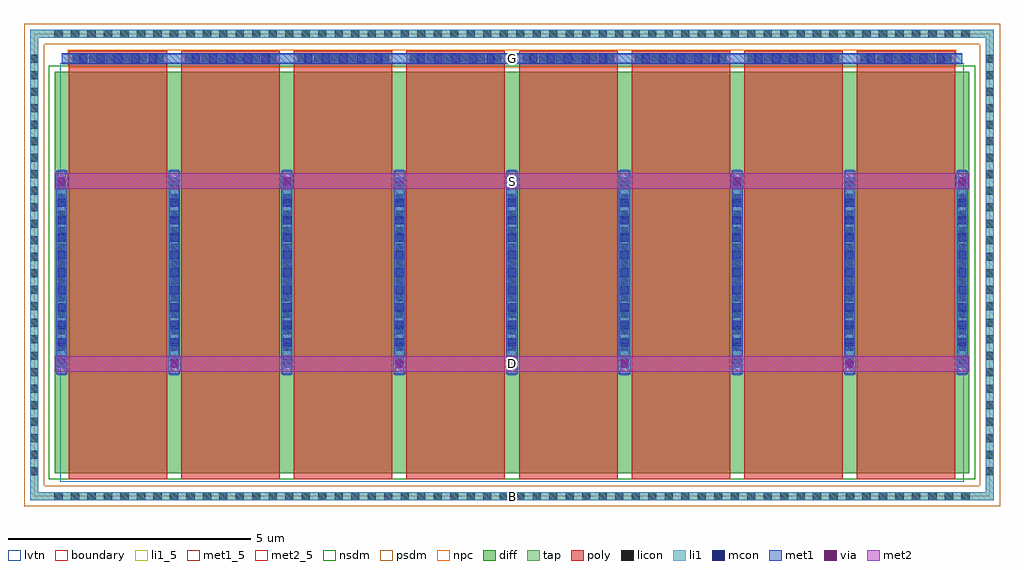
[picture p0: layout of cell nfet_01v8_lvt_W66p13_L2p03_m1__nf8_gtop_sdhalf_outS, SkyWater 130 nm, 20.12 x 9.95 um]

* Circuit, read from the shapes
.subckt nfet_01v8_lvt_W66p13_L2p03_m1__nf8_gtop_sdhalf_outS B D G S
XM1 D G S B sky130_fd_pr__nfet_01v8_lvt w=8.27 l=2.03 m=8
.ends

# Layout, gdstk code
import gdstk
lib = gdstk.Library(unit=1e-6, precision=1e-09)
def R(c, l, rs):  # rectangles x0, y0, x1, y1
    for r in rs: c.add(gdstk.rectangle(r[:2], r[2:], *l))
def A(c, l, x, y, w, h, nx, ny, dx, dy):  # array of equal rectangles
    R(c, l, [(x+i*dx, y+j*dy, x+i*dx+w, y+j*dy+h) for i in range(nx) for j in range(ny)])
diff = (65, 20)
tap = (65, 44)
poly = (66, 20)
licon = (66, 44)
li1_5 = (67, 5)
li1 = (67, 20)
mcon = (67, 44)
met1_5 = (68, 5)
met1 = (68, 20)
via = (68, 44)
met2_5 = (69, 5)
met2 = (69, 20)
nsdm = (93, 44)
psdm = (94, 20)
npc = (95, 20)
lvtn = (125, 44)
boundary = (235, 4)

sky130_fd_pr__nfet_01v8_ = lib.new_cell('sky130_fd_pr__nfet_01v8_lvt_QZJ5WQ')
R(sky130_fd_pr__nfet_01v8_, diff, [(-9.425,-4.29,9.425,3.98)])
R(sky130_fd_pr__nfet_01v8_, tap, [(-9.935,-4.85,9.935,-4.68), (-9.935,-4.68,-9.765,4.68), (9.765,-4.68,9.935,4.68), (-9.935,4.68,9.935,4.85)])
A(sky130_fd_pr__nfet_01v8_, poly, -9.135, -4.42, 2.03, 8.84, 8, 1, 2.32, 0)
A(sky130_fd_pr__nfet_01v8_, licon, -9.435, -4.85, 0.17, 0.17, 56, 2, 0.34, 9.53)
A(sky130_fd_pr__nfet_01v8_, licon, -9.935, -4.335, 0.17, 0.17, 1, 26, 0, 0.34)
A(sky130_fd_pr__nfet_01v8_, licon, 9.765, -4.335, 0.17, 0.17, 1, 26, 0, 0.34)
A(sky130_fd_pr__nfet_01v8_, licon, -9.365, -2.11, 0.17, 0.17, 9, 12, 2.32, 0.34)
A(sky130_fd_pr__nfet_01v8_, licon, -9.055, 4.17, 0.17, 0.17, 6, 1, 0.34, 0)
A(sky130_fd_pr__nfet_01v8_, licon, -6.735, 4.17, 0.17, 0.17, 6, 1, 0.34, 0)
A(sky130_fd_pr__nfet_01v8_, licon, -4.415, 4.17, 0.17, 0.17, 6, 1, 0.34, 0)
A(sky130_fd_pr__nfet_01v8_, licon, -2.095, 4.17, 0.17, 0.17, 6, 1, 0.34, 0)
A(sky130_fd_pr__nfet_01v8_, licon, 0.225, 4.17, 0.17, 0.17, 6, 1, 0.34, 0)
A(sky130_fd_pr__nfet_01v8_, licon, 2.545, 4.17, 0.17, 0.17, 6, 1, 0.34, 0)
A(sky130_fd_pr__nfet_01v8_, licon, 4.865, 4.17, 0.17, 0.17, 6, 1, 0.34, 0)
A(sky130_fd_pr__nfet_01v8_, licon, 7.185, 4.17, 0.17, 0.17, 6, 1, 0.34, 0)
A(sky130_fd_pr__nfet_01v8_, li1, -9.365, -2.27, 0.17, 4.23, 9, 1, 2.32, 0)
R(sky130_fd_pr__nfet_01v8_, li1, [(-9.935,-4.85,9.935,-4.68), (-9.935,-4.68,-9.765,4.68), (9.765,-4.68,9.935,4.68), (-9.28,4.17,9.28,4.34), (-9.935,4.68,9.935,4.85)])
A(sky130_fd_pr__nfet_01v8_, mcon, -9.365, -2.04, 0.17, 0.17, 9, 11, 2.32, 0.36)
A(sky130_fd_pr__nfet_01v8_, mcon, -8.925, 4.17, 0.17, 0.17, 5, 1, 0.36, 0)
A(sky130_fd_pr__nfet_01v8_, mcon, -6.605, 4.17, 0.17, 0.17, 5, 1, 0.36, 0)
A(sky130_fd_pr__nfet_01v8_, mcon, -4.285, 4.17, 0.17, 0.17, 5, 1, 0.36, 0)
A(sky130_fd_pr__nfet_01v8_, mcon, -1.965, 4.17, 0.17, 0.17, 5, 1, 0.36, 0)
A(sky130_fd_pr__nfet_01v8_, mcon, 0.355, 4.17, 0.17, 0.17, 5, 1, 0.36, 0)
A(sky130_fd_pr__nfet_01v8_, mcon, 2.675, 4.17, 0.17, 0.17, 5, 1, 0.36, 0)
A(sky130_fd_pr__nfet_01v8_, mcon, 4.995, 4.17, 0.17, 0.17, 5, 1, 0.36, 0)
A(sky130_fd_pr__nfet_01v8_, mcon, 7.315, 4.17, 0.17, 0.17, 5, 1, 0.36, 0)
A(sky130_fd_pr__nfet_01v8_, met1, -9.395, -2.25, 0.23, 4.19, 9, 1, 2.32, 0)
A(sky130_fd_pr__nfet_01v8_, met1, -9.115, 4.14, 1.99, 0.03, 8, 2, 2.32, 0.2)
R(sky130_fd_pr__nfet_01v8_, met1, [(-9.28,4.17,9.28,4.34)])
R(sky130_fd_pr__nfet_01v8_, nsdm, [(-9.55,-4.415,9.55,4.105)])
R(sky130_fd_pr__nfet_01v8_, psdm, [(-10.06,-4.975,10.06,-4.555), (-10.06,-4.555,-9.64,4.555), (9.64,-4.555,10.06,4.555), (-10.06,4.555,10.06,4.975)])
R(sky130_fd_pr__nfet_01v8_, npc, [(-9.155,4.07,9.155,4.44)])
R(sky130_fd_pr__nfet_01v8_, lvtn, [(-9.315,-4.47,9.315,4.16)])
R(sky130_fd_pr__nfet_01v8_, boundary, [(-9.85,-4.765,9.85,4.765)])
sky130_fd_pr__nfet_01v8_.add(gdstk.Label('B', (0,-4.765), layer=67, texttype=5))
sky130_fd_pr__nfet_01v8_.add(gdstk.Label('D0', (-9.28,-0.155), layer=67, texttype=5))
sky130_fd_pr__nfet_01v8_.add(gdstk.Label('G', (8.12,4.255), layer=67, texttype=5))
sky130_fd_pr__nfet_01v8_.add(gdstk.Label('G', (5.8,4.255), layer=67, texttype=5))
sky130_fd_pr__nfet_01v8_.add(gdstk.Label('G', (3.48,4.255), layer=67, texttype=5))
sky130_fd_pr__nfet_01v8_.add(gdstk.Label('G', (1.16,4.255), layer=67, texttype=5))
sky130_fd_pr__nfet_01v8_.add(gdstk.Label('G', (-1.16,4.255), layer=67, texttype=5))
sky130_fd_pr__nfet_01v8_.add(gdstk.Label('G', (-3.48,4.255), layer=67, texttype=5))
sky130_fd_pr__nfet_01v8_.add(gdstk.Label('G', (-5.8,4.255), layer=67, texttype=5))
sky130_fd_pr__nfet_01v8_.add(gdstk.Label('G', (-8.12,4.255), layer=67, texttype=5))
sky130_fd_pr__nfet_01v8_.add(gdstk.Label('S1', (-6.96,-0.155), layer=67, texttype=5))
sky130_fd_pr__nfet_01v8_.add(gdstk.Label('D2', (-4.64,-0.155), layer=67, texttype=5))
sky130_fd_pr__nfet_01v8_.add(gdstk.Label('S3', (-2.32,-0.155), layer=67, texttype=5))
sky130_fd_pr__nfet_01v8_.add(gdstk.Label('D4', (0,-0.155), layer=67, texttype=5))
sky130_fd_pr__nfet_01v8_.add(gdstk.Label('S5', (2.32,-0.155), layer=67, texttype=5))
sky130_fd_pr__nfet_01v8_.add(gdstk.Label('D6', (4.64,-0.155), layer=67, texttype=5))
sky130_fd_pr__nfet_01v8_.add(gdstk.Label('S7', (6.96,-0.155), layer=67, texttype=5))

nfet_01v8_lvt_w66p13_l2p = lib.new_cell('nfet_01v8_lvt_W66p13_L2p03_m1__nf8_gtop_sdhalf_outS')
R(nfet_01v8_lvt_w66p13_l2p, li1_5, [(9.765,-0.085,9.935,0.085)])
R(nfet_01v8_lvt_w66p13_l2p, li1, [(9.765,-0.085,9.935,0.085)])
R(nfet_01v8_lvt_w66p13_l2p, met1_5, [(0.57,8.905,19.13,9.135)])
A(nfet_01v8_lvt_w66p13_l2p, met1, 2.76, 2.565, 0.26, 0.32, 4, 1, 4.64, 0)
A(nfet_01v8_lvt_w66p13_l2p, met1, 0.44, 6.335, 0.26, 0.32, 5, 1, 4.64, 0)
R(nfet_01v8_lvt_w66p13_l2p, met1, [(0.57,8.905,19.13,9.135)])
A(nfet_01v8_lvt_w66p13_l2p, via, 2.815, 2.65, 0.15, 0.15, 4, 1, 4.64, 0)
A(nfet_01v8_lvt_w66p13_l2p, via, 0.495, 6.42, 0.15, 0.15, 5, 1, 4.64, 0)
R(nfet_01v8_lvt_w66p13_l2p, met2_5, [(0.435,2.565,19.265,2.885), (0.435,6.335,19.265,6.655)])
R(nfet_01v8_lvt_w66p13_l2p, met2, [(0.435,2.565,19.265,2.885), (0.435,6.335,19.265,6.655)])
nfet_01v8_lvt_w66p13_l2p.add(gdstk.Reference(sky130_fd_pr__nfet_01v8_, (9.85,4.765)))
nfet_01v8_lvt_w66p13_l2p.add(gdstk.Label('S', (9.85,6.495), layer=69, texttype=5))
nfet_01v8_lvt_w66p13_l2p.add(gdstk.Label('D', (9.85,2.725), layer=69, texttype=5))
nfet_01v8_lvt_w66p13_l2p.add(gdstk.Label('G', (9.85,9.02), layer=68, texttype=5))
nfet_01v8_lvt_w66p13_l2p.add(gdstk.Label('B', (9.85,0), layer=67, texttype=5))

lib.write_gds('nfet_01v8_lvt_W66p13_L2p03_m1__nf8_gtop_sdhalf_outS.gds')
